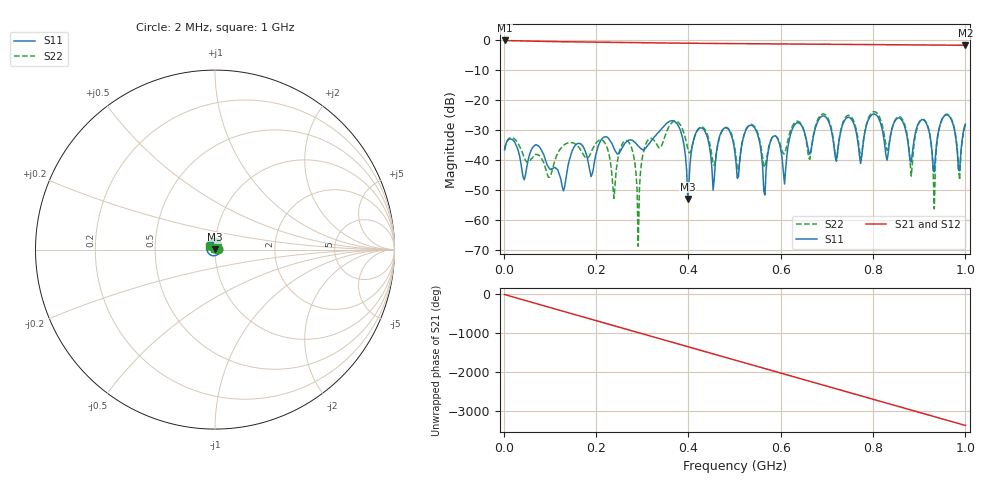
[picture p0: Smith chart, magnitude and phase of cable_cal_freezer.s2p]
!Keysight Technologies N9923A: A.12.45
!Date: Friday, 31 October 2025 01:17:51
!Timezone: (UTC+08:00) Kuala Lumpur, Singapore
!Model: N9923A
!Serial: MY61181427
!GPS Latitude:
!GPS Longitude:
!GPS TimeStamp: 0001-01-01 00:00:00Z
!GPS Seconds Since Last Read: 0
!CHECKSUM:0305097847
!Correction: S11(ON U)S21(ON U)S12(ON U)S22(ON U)
!S2P File: Measurements:S11,S21,S12,S22:
# Hz S DB R 50
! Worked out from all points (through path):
!   401 points, 2 MHz to 1 GHz, reference 50 ohm
!   highest |S21| = -0.13 dB at 2 MHz (marker M1); lowest = -1.7 dB at 1 GHz (marker M2)
!   group delay of S21, straight-line fit = 9.34 ns
!   lowest |S11| = -53.1 dB at 398.7 MHz (marker M3), VSWR 1.00, Z = 50 + j0.217 ohm
!   |S11| at or under -10 dB: start of sweep to end of sweep
!   |S22| runs from -68.8 to -23.9 dB; largest |S21 - S12| = 0.00086
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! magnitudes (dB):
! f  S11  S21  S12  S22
! 2 MHz  -36.6  -0.1  -0.1  -36.5
! 129.2 MHz  -50.3  -0.6  -0.6  -35.2
! 169.2 MHz  -35.0  -0.7  -0.7  -37.3
! 239 MHz  -36.2  -0.8  -0.8  -52.8
! 269 MHz  -33.6  -0.8  -0.8  -33.8
! 291.4 MHz  -35.4  -0.9  -0.9  -68.8
! 308.9 MHz  -35.8  -0.9  -0.9  -34.3
! 336.3 MHz  -30.6  -1.0  -1.0  -36.0
! 376.2 MHz  -28.1  -1.0  -1.0  -27.2
! 398.7 MHz  -53.1  -1.0  -1.0  -36.3
! 426.1 MHz  -29.3  -1.1  -1.1  -29.1
! 453.6 MHz  -50.1  -1.1  -1.1  -41.3
! 478.5 MHz  -29.4  -1.2  -1.2  -29.3
! 501 MHz  -37.8  -1.2  -1.2  -36.3
! 668.2 MHz  -34.4  -1.4  -1.4  -34.3
! 835.3 MHz  -34.5  -1.6  -1.6  -34.0
! 882.7 MHz  -40.7  -1.6  -1.6  -45.4
! 910.2 MHz  -26.7  -1.7  -1.7  -26.6
! 932.6 MHz  -44.0  -1.7  -1.7  -56.4
! 952.6 MHz  -25.6  -1.7  -1.7  -25.6
! 987.5 MHz  -43.7  -1.7  -1.7  -46.7
! 1 GHz  -28.0  -1.7  -1.7  -28.0
